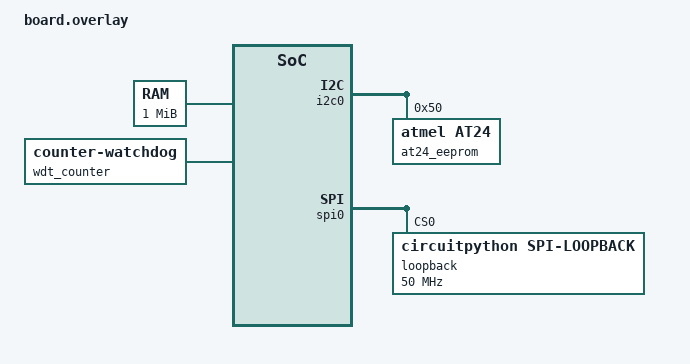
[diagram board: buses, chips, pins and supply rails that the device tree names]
/*
 * SPDX-License-Identifier: Apache-2.0
 *
 * Device tree overlay for CircuitPython on native_sim.
 * Adds simulated SRAM region required by CircuitPython build system.
 */

#include <zephyr/dt-bindings/memory-attr/memory-attr-arm.h>

/* Partition layout is owned by the mcuboot fork (dts/native/native_sim.dtsi)
 * and applied to this image by sysbuild. This overlay only adds board/app config. */

/ {
	sram0: memory@20000000 {
		device_type = "memory";
		compatible = "zephyr,memory-region", "mmio-sram";
		reg = <0x20000000 DT_SIZE_M(1)>;
		zephyr,memory-region = "SRAM";
	};

	chosen {
		zephyr,sram = &sram0;
		/delete-property/ zephyr,flash;
	};
};

/* Add emulated I2C devices for testing */
&i2c0 {
	at24_eeprom: eeprom@50 {
		compatible = "atmel,at24";
		reg = <0x50>;
		size = <256>;
		pagesize = <8>;
		address-width = <8>;
		timeout = <5>;
	};
};

/* Expand ADC channels for analogio tests. */
&adc0 {
	nchannels = <4>;
	ref-internal-mv = <3300>;
	ref-vdd-mv = <3300>;
};

/* Emulated watchdog for the watchdog module, built on the native_sim counter
 * like Zephyr's own watchdog tests do (tests/drivers/watchdog). */
/ {
	wdt_counter: wdt-counter {
		compatible = "zephyr,counter-watchdog";
		status = "okay";
		counter = <&counter0>;
	};

	aliases {
		watchdog0 = &wdt_counter;
	};
};

/ {
	dac0: dac {
		compatible = "vnd,dac";
		status = "okay";
		#io-channel-cells = <1>;
		vref-mv = <3300>;
	};
};

/* Emulated PWM controller for pwmio tests: one channel per gpio_emul pin
 * and two period groups that any channel can join, clocked at 16 MHz. */
/ {
	pwm_emul: pwm-emul {
		compatible = "adafruit,pwm-emul";
		status = "okay";
		#pwm-cells = <3>;
		channels = <32>;
		groups = <2>;
		clock-frequency = <16000000>;
	};
};


/* An SPI loopback for testing: MOSI wired to MISO. */
&spi0 {
	loopback: loopback@0 {
		compatible = "circuitpython,spi-loopback";
		reg = <0>;
		spi-max-frequency = <50000000>;
	};
};

#include "../../../app.overlay"
